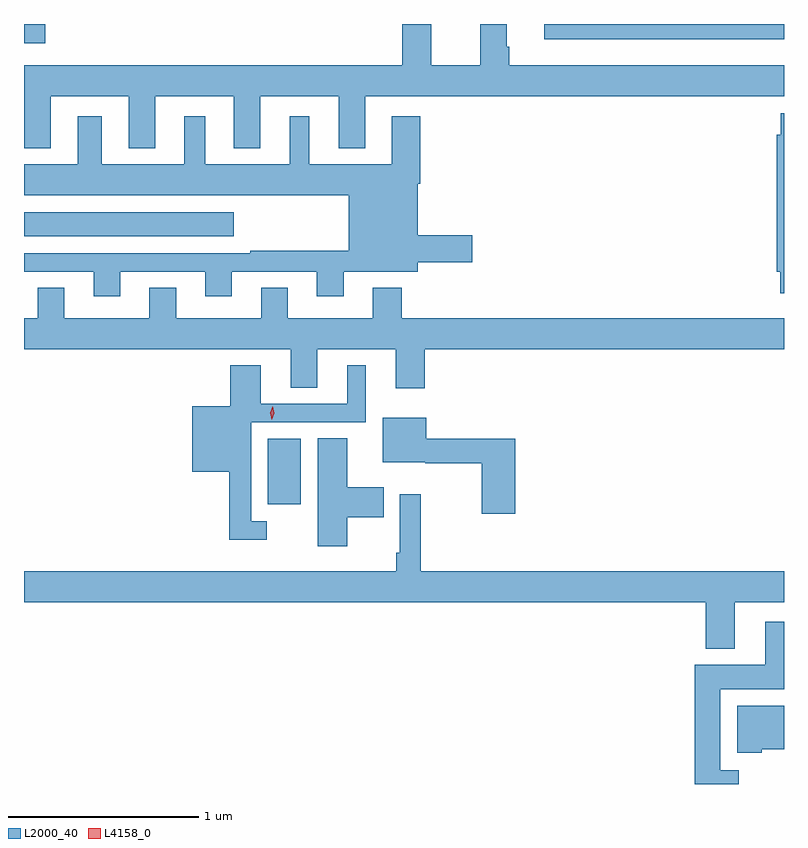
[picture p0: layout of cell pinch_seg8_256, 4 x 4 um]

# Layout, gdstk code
import gdstk
lib = gdstk.Library(unit=1e-6, precision=1e-09)
def R(c, l, rs):  # rectangles x0, y0, x1, y1
    for r in rs: c.add(gdstk.rectangle(r[:2], r[2:], *l))
def P(c, l, *ps):  # polygons
    for p in ps: c.add(gdstk.Polygon(p, *l))
L2000_40 = (2000, 40)
L4158_0 = (4158, 0)

pinch_seg8_256 = lib.new_cell('pinch_seg8_256')
R(pinch_seg8_256, L2000_40, [(867.287,1122.344,867.46,1122.688), (866.003,1123.754,867.106,1123.882), (866.003,1124.771,866.116,1124.872), (868.742,1124.792,870.003,1124.872)])
P(pinch_seg8_256, L2000_40, [(866.143,1124.492),(866.555,1124.492),(866.555,1124.219),(866.695,1124.219),(866.695,1124.492),(867.107,1124.492),(867.107,1124.219),(867.247,1124.219),(867.247,1124.492),(867.659,1124.492),(867.659,1124.219),(867.799,1124.219),(867.799,1124.492),(870.003,1124.492),(870.003,1124.656),(868.556,1124.656),(868.556,1124.752),(868.543,1124.752),(868.543,1124.872),(868.403,1124.872),(868.403,1124.656),(868.147,1124.656),(868.147,1124.872),(867.995,1124.872),(867.995,1124.656),(866.003,1124.656),(866.003,1124.219),(866.143,1124.219)],
  [(870.003,1124.401),(869.985,1124.401),(869.985,1124.288),(869.965,1124.288),(869.965,1123.567),(869.984,1123.567),(869.984,1123.455),(870.003,1123.455)],
  [(866.509,1123.569),(866.957,1123.569),(866.957,1123.44),(867.097,1123.44),(867.097,1123.569),(867.545,1123.569),(867.545,1123.44),(867.685,1123.44),(867.685,1123.568),(868.075,1123.568),(868.075,1123.618),(868.363,1123.618),(868.363,1123.76),(868.075,1123.76),(868.075,1124.03),(868.088,1124.03),(868.088,1124.386),(867.938,1124.386),(867.938,1124.134),(867.505,1124.134),(867.505,1124.386),(867.401,1124.386),(867.401,1124.134),(866.956,1124.134),(866.956,1124.386),(866.846,1124.386),(866.846,1124.134),(866.413,1124.134),(866.413,1124.386),(866.285,1124.386),(866.285,1124.134),(866.003,1124.134),(866.003,1123.97),(867.713,1123.97),(867.713,1123.678),(867.193,1123.678),(867.193,1123.665),(866.003,1123.665),(866.003,1123.569),(866.369,1123.569),(866.369,1123.44),(866.509,1123.44)],
  [(868.112,1123.16),(870.003,1123.16),(870.003,1123.324),(867.992,1123.324),(867.992,1123.483),(867.839,1123.483),(867.839,1123.324),(867.391,1123.324),(867.391,1123.484),(867.251,1123.484),(867.251,1123.324),(866.803,1123.324),(866.803,1123.484),(866.663,1123.484),(866.663,1123.324),(866.215,1123.324),(866.215,1123.484),(866.075,1123.484),(866.075,1123.324),(866.003,1123.324),(866.003,1123.16),(867.407,1123.16),(867.407,1122.958),(867.547,1122.958),(867.547,1123.16),(867.959,1123.16),(867.959,1122.954),(868.112,1122.954)],
  [(867.28,1122.255),(867.198,1122.255),(867.198,1122.777),(867.802,1122.777),(867.802,1123.075),(867.704,1123.075),(867.704,1122.873),(867.25,1122.873),(867.25,1123.075),(867.089,1123.075),(867.089,1122.859),(866.888,1122.859),(866.888,1122.515),(867.082,1122.515),(867.082,1122.158),(867.28,1122.158)],
  [(868.589,1122.688),(868.12,1122.688),(868.12,1122.799),(867.89,1122.799),(867.89,1122.566),(868.116,1122.566),(868.116,1122.559),(868.411,1122.559),(868.411,1122.294),(868.589,1122.294)],
  [(867.703,1122.275),(867.896,1122.275),(867.896,1122.433),(867.703,1122.433),(867.703,1122.692),(867.548,1122.692),(867.548,1122.123),(867.703,1122.123)],
  [(869.743,1121.828),(870.003,1121.828),(870.003,1121.992),(868.09,1121.992),(868.09,1122.397),(867.981,1122.397),(867.981,1122.088),(867.961,1122.088),(867.961,1121.992),(866.003,1121.992),(866.003,1121.828),(869.591,1121.828),(869.591,1121.585),(869.743,1121.585)],
  [(869.764,1120.945),(869.668,1120.945),(869.668,1121.372),(870.003,1121.372),(870.003,1121.725),(869.903,1121.725),(869.903,1121.5),(869.534,1121.5),(869.534,1120.872),(869.764,1120.872)],
  [(869.886,1121.054),(870.003,1121.054),(870.003,1121.284),(869.756,1121.284),(869.756,1121.036),(869.886,1121.036)])
P(pinch_seg8_256, L4158_0, [(867.308,1122.79),(867.308,1122.79),(867.3,1122.825),(867.311,1122.86),(867.311,1122.86),(867.312,1122.86),(867.32,1122.824),(867.308,1122.79)])

lib.write_gds('pinch_seg8_256.gds')
